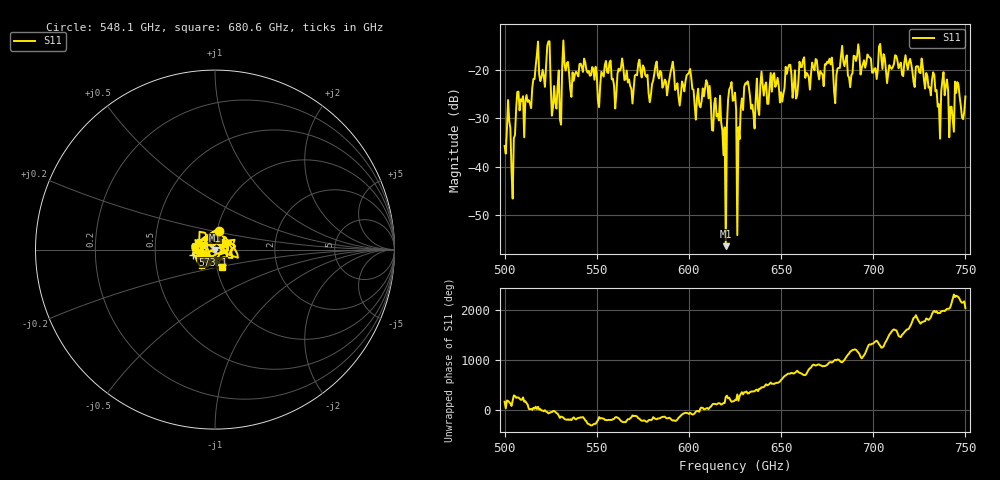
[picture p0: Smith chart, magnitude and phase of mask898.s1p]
!Created with skrf (http://scikit-rf.org).
# GHz S MA R 50.0
!freq magS11 angS11
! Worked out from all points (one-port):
!   401 points, 500 GHz to 750 GHz, reference 50 ohm
!   lowest |S11| = -56.4 dB at 620 GHz (marker M1), VSWR 1.00, Z = 50 - j0.151 ohm
!   |S11| at or under -10 dB: start of sweep to end of sweep
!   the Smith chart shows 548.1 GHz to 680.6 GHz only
!   S11 on the Smith chart (normalised r, x): 548.1 GHz: 1.02, +0.21; 573.1 GHz: 0.78, -0.04; 680.6 GHz: 1.06, -0.21
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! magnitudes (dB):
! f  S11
! 500 GHz  -35.7
! 504.4 GHz  -46.6
! 507.5 GHz  -24.5
! 513.8 GHz  -26.9
! 516.9 GHz  -19.1
! 523.8 GHz  -14.1
! 526.9 GHz  -23.3
! 531.2 GHz  -19.2
! 548.1 GHz  -19.7
! 562.5 GHz  -20.2
! 573.1 GHz  -17.9
! 593.8 GHz  -22.7
! 610 GHz  -22.7
! 620 GHz  -56.4
! 622.5 GHz  -23.5
! 625 GHz  -24.7
! 627.5 GHz  -34.3
! 631.2 GHz  -22.9
! 635 GHz  -29.1
! 656.2 GHz  -25.7
! 680.6 GHz  -19.7
! 687.5 GHz  -23.6
! 718.8 GHz  -19.9
! 735 GHz  -27.6
! 738.8 GHz  -25.2
! 742.5 GHz  -27.6
! 745.6 GHz  -22.5
! 750 GHz  -25.5
